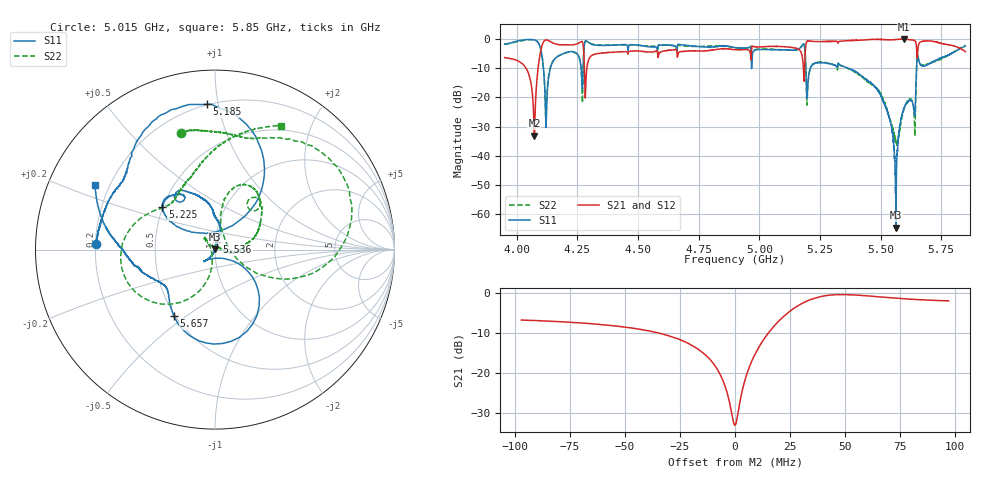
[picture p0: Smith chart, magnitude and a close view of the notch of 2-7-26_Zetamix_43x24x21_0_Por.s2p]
# GHZ S RI R 50.000000000000
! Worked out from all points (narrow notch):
!   4501 points, 3.95 GHz to 5.85 GHz, reference 50 ohm
!   highest |S21| = -0.03 dB at 5.595 GHz (marker M1); lowest = -33.1 dB at 4.073 GHz (marker M2)
!   notch at M2: 30.3 dB deep, 16.2 MHz wide at half that depth
!   lowest |S11| = -64.6 dB at 5.563 GHz (marker M3), VSWR 1.00, Z = 50 + j0.0581 ohm
!   |S11| at or under -10 dB: 4.11 GHz to 4.139 GHz (28.39 MHz wide, 0.688 % of centre); 5.192121 GHz to 5.21032 GHz (18.2 MHz wide, 0.35 % of centre); 5.367 GHz to 5.648 GHz (281.1 MHz wide, 5.1 % of centre)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
!   |S22| runs from -36.6 to -0.2 dB; largest |S21 - S12| = 0.058
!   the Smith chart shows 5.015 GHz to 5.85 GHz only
!   S11 on the Smith chart (normalised r, x): 5.015 GHz: 0.20, +0.02; 5.185 GHz: 0.20, +0.93; 5.225 GHz: 0.50, +0.27; 5.536 GHz: 1.02, +0.09; 5.657 GHz: 0.49, -0.45; 5.85 GHz: 0.15, +0.25
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3.95  0.8046 -0.1615  -0.2716 -0.3966  -0.2664 -0.3996  0.4434 -0.6869
4.0374  0.7362 -0.6387  -0.2871 -0.1445  -0.2853 -0.1476  0.0587 -0.9543
4.072867  0.3556 -0.8956  -0.00123 -0.0221  0.000567 -0.0208  -0.3735 -0.8958
4.099044  -0.2534 -0.6153  0.3949 -0.4941  0.3997 -0.4886  -0.6194 -0.2615
4.121422  0.0261 -0.0237  -0.1806 -0.9482  -0.1665 -0.9494  0.00867 -0.0397
4.167022  0.4437 -0.2262  -0.6137 -0.526  -0.6083 -0.5381  0.1183 -0.4831
4.267089  0.1034 -0.2384  -0.8468 0.3297  -0.8459 0.3202  -0.1456 -0.1911
4.292422  0.6758 -0.5859  -0.3635 -0.1341  -0.3572 -0.1356  -0.0066 -0.8943
4.583756  -0.168 -0.7615  -0.3343 0.3837  -0.3458 0.3734  -0.6994 -0.3025
4.9  -0.7007 -0.1478  0.2341 0.6137  0.2201 0.6189  -0.436 0.5503
5.015267  -0.6616 0.0316  0.4589 0.5717  0.4468 0.5873  -0.1905 0.6517
5.184578  -0.0453 0.8097  0.1663 0.0954  0.1652 0.1036  0.7517 0.2878
5.2002  -0.1334 0.0974  0.7381 0.573  0.7067 0.5946  0.0309 0.1471
5.217089  -0.2843 0.2072  0.8532 0.3215  0.8446 0.3537  0.0973 0.3396
5.224689  -0.2935 0.2362  0.8685 0.2616  0.8632 0.2925  0.1298 0.3582
5.533756  0.0131 0.0468  0.435 -0.8613  0.4689 -0.8521  0.0485 -0.00354
5.535867  0.0113 0.044  0.4293 -0.8672  0.4613 -0.8552  0.0467 -0.0028
5.563311  -9.56e-05 0.000581  0.3254 -0.9235  0.3577 -0.9107  0.0105 0.0143
5.5954  -0.0387 -0.0535  0.1493 -0.9852  0.1989 -0.9748  -0.046 0.0395
5.6372  -0.0335 -0.0539  -0.1401 -0.9448  -0.0955 -0.9535  -0.0405 0.0459
5.657044  -0.2299 -0.3701  0.0911 -0.7916  0.1334 -0.7936  -0.408 0.1797
5.85  -0.6683 0.3591  -0.5809 -0.1798  -0.5893 -0.2012  0.3684 0.6911
